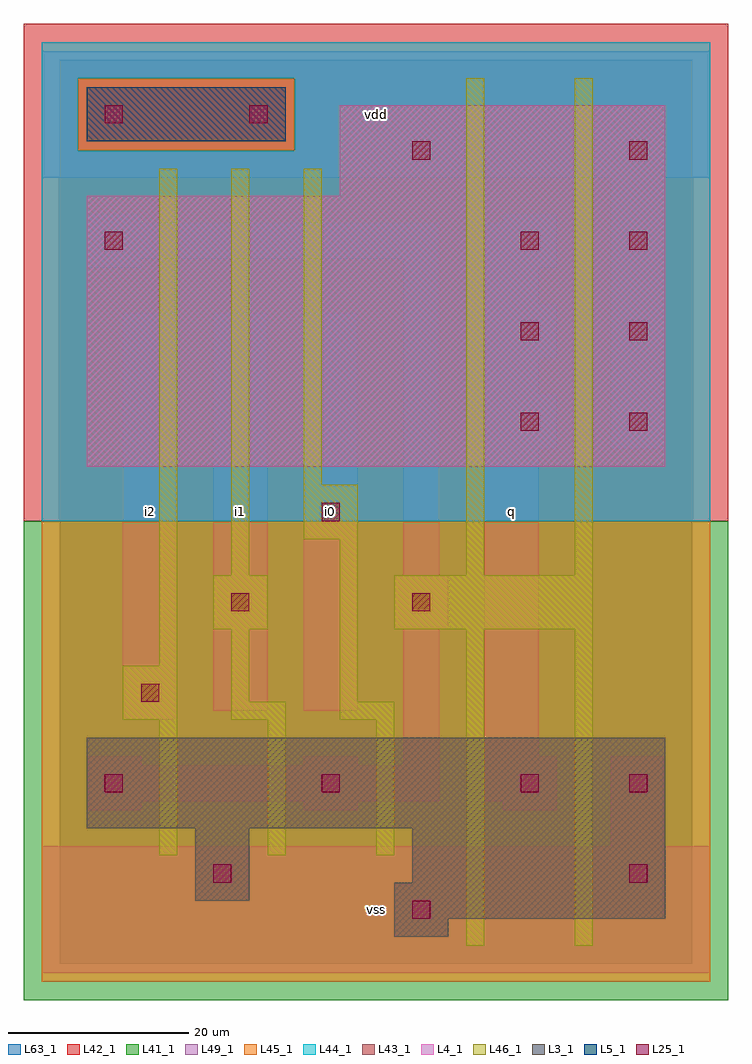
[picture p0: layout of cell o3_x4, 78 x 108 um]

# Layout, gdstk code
import gdstk
lib = gdstk.Library(unit=1e-6, precision=1e-09)
def R(c, l, rs):  # rectangles x0, y0, x1, y1
    for r in rs: c.add(gdstk.rectangle(r[:2], r[2:], *l))
def A(c, l, x, y, w, h, nx, ny, dx, dy):  # array of equal rectangles
    R(c, l, [(x+i*dx, y+j*dy, x+i*dx+w, y+j*dy+h) for i in range(nx) for j in range(ny)])
L3_1 = (3, 1)
L4_1 = (4, 1)
L5_1 = (5, 1)
L25_1 = (25, 1)
L41_1 = (41, 1)
L42_1 = (42, 1)
L43_1 = (43, 1)
L44_1 = (44, 1)
L45_1 = (45, 1)
L46_1 = (46, 1)
L49_1 = (49, 1)
L63_1 = (63, 1)

o3_x4 = lib.new_cell('o3_x4')
R(o3_x4, L3_1, [(37,3,43,5), (37,5,67,9), (15,7,21,15), (39,9,67,15), (3,15,67,25)])
R(o3_x4, L4_1, [(3,55,67,85), (31,85,67,95)])
R(o3_x4, L5_1, [(3,91,25,97)])
A(o3_x4, L25_1, 51, 59, 2, 2, 1, 3, 0, 10)
A(o3_x4, L25_1, 63, 59, 2, 2, 1, 4, 0, 10)
R(o3_x4, L25_1, [(39,5,41,7), (17,9,19,11), (63,9,65,11), (5,19,7,21), (29,19,31,21), (51,19,53,21), (63,19,65,21), (9,29,11,31), (19,39,21,41), (39,39,41,41), (29,49,31,51), (5,79,7,81), (39,89,41,91), (5,93,7,95), (21,93,23,95)])
R(o3_x4, L41_1, [(-4,-4,74,49)])
R(o3_x4, L42_1, [(-4,49,74,104)])
R(o3_x4, L43_1, [(37,3,43,5), (37,5,67,9), (15,7,21,15), (39,9,67,15), (3,15,67,25), (3,55,67,85), (31,85,67,95), (3,91,25,97)])
R(o3_x4, L44_1, [(-2,49,72,90), (-2,90,2,98), (26,90,72,98), (-2,98,72,102)])
R(o3_x4, L45_1, [(-2,-2,72,49), (2,90,26,98)])
A(o3_x4, L46_1, 11, 12, 2, 15, 3, 1, 12, 0)
R(o3_x4, L46_1, [(45,2,47,37), (57,2,59,37), (7,27,13,33), (19,27,25,29), (31,27,37,29), (19,29,21,37), (31,29,33,47), (11,33,13,88), (17,37,23,43), (37,37,59,43), (19,43,21,88), (45,43,47,98), (57,43,59,98), (27,47,33,53), (27,53,29,88)])
R(o3_x4, L49_1, [(-2,-1,72,13), (61,13,67,23), (3,17,9,18), (27,17,33,18), (49,17,55,18), (3,18,42,22), (47,18,55,23), (3,22,9,23), (27,22,33,23), (38,22,42,37), (47,23,53,57), (7,27,13,72), (17,28,23,72), (27,28,33,72), (37,37,43,43), (38,43,42,78), (47,57,55,63), (61,57,67,87), (47,63,53,67), (47,67,55,73), (47,73,53,77), (3,77,9,78), (47,77,55,82), (3,78,42,82), (3,82,9,83), (49,82,55,83), (-2,87,72,101)])
R(o3_x4, L63_1, [(0,0,70,100)])
o3_x4.add(gdstk.Label('i2', (10,50), layer=49, texttype=1))
o3_x4.add(gdstk.Label('i2', (10,50), layer=49, texttype=1))
o3_x4.add(gdstk.Label('i0', (30,50), layer=49, texttype=1))
o3_x4.add(gdstk.Label('i1', (20,50), layer=49, texttype=1))
o3_x4.add(gdstk.Label('i1', (20,50), layer=49, texttype=1))
o3_x4.add(gdstk.Label('i0', (30,50), layer=49, texttype=1))
o3_x4.add(gdstk.Label('vss', (35,6), layer=49, texttype=1))
o3_x4.add(gdstk.Label('vss', (35,6), layer=49, texttype=1))
o3_x4.add(gdstk.Label('q', (50,50), layer=49, texttype=1))
o3_x4.add(gdstk.Label('q', (50,50), layer=49, texttype=1))
o3_x4.add(gdstk.Label('vdd', (35,94), layer=49, texttype=1))
o3_x4.add(gdstk.Label('vdd', (35,94), layer=49, texttype=1))

lib.write_gds('o3_x4.gds')
